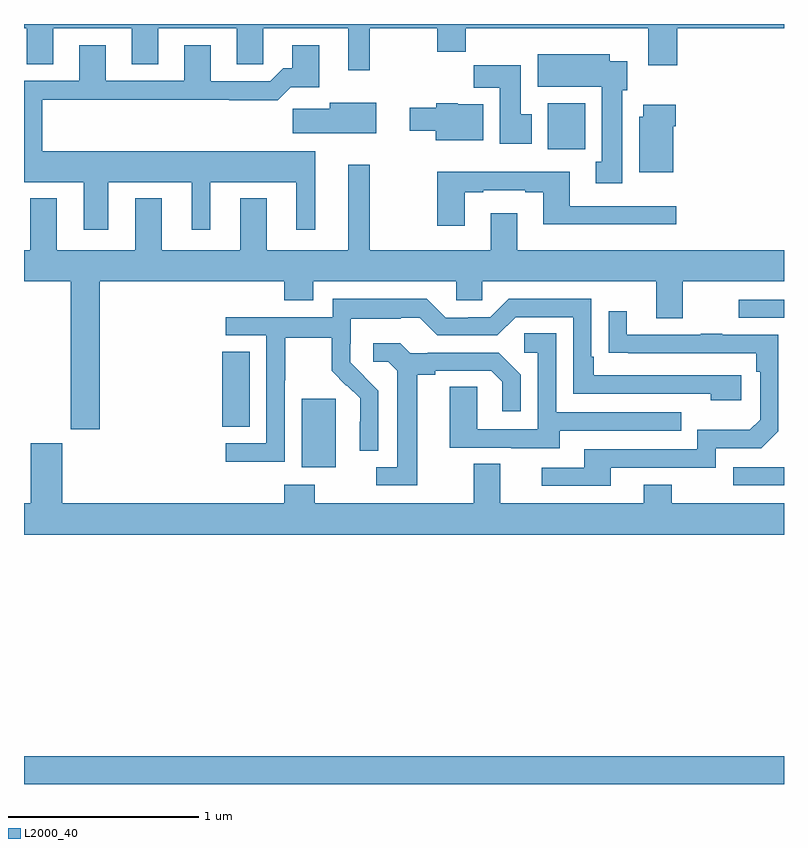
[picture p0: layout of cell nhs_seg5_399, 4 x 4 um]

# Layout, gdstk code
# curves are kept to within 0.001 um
import gdstk
lib = gdstk.Library(unit=1e-6, precision=1e-09)
def R(c, l, rs):  # rectangles x0, y0, x1, y1
    for r in rs: c.add(gdstk.rectangle(r[:2], r[2:], *l))
def P(c, l, *ps):  # polygons
    for p in ps: c.add(gdstk.Polygon(p, *l))
L2000_40 = (2000, 40)

nhs_seg5_399 = lib.new_cell('nhs_seg5_399')
R(nhs_seg5_399, L2000_40, [(137,836.799,141,836.944), (140.733,838.371,141,838.467), (138.461,838.466,138.64,838.827), (138.044,838.678,138.187,839.075), (140.763,839.253,141,839.349), (139.757,840.14,139.954,840.382)])
P(nhs_seg5_399, L2000_40, [(138.821,840.776),(139.174,840.776),(139.174,840.652),(139.325,840.652),(139.325,840.776),(140.285,840.776),(140.285,840.582),(140.438,840.582),(140.438,840.776),(141,840.776),(141,840.799),(137,840.799),(137,840.776),(137.015,840.776),(137.015,840.586),(137.155,840.586),(137.155,840.776),(137.567,840.776),(137.567,840.586),(137.707,840.586),(137.707,840.776),(138.119,840.776),(138.119,840.586),(138.258,840.586),(138.258,840.776),(138.707,840.776),(138.707,840.555),(138.821,840.555)],
  [(137.443,839.966),(137.882,839.966),(137.882,839.715),(137.98,839.715),(137.98,839.966),(138.434,839.966),(138.434,839.715),(138.532,839.715),(138.532,840.13),(137.095,840.13),(137.095,840.4),(138.079,840.4),(138.079,840.398),(138.335,840.398),(138.404,840.467),(138.553,840.467),(138.553,840.688),(138.413,840.688),(138.413,840.565),(138.364,840.565),(138.297,840.498),(137.983,840.498),(137.983,840.688),(137.843,840.688),(137.843,840.501),(137.431,840.501),(137.431,840.688),(137.291,840.688),(137.291,840.501),(137,840.501),(137,839.966),(137.315,839.966),(137.315,839.715),(137.443,839.715)],
  [(140.149,840.45),(140.176,840.45),(140.176,840.604),(140.083,840.604),(140.083,840.64),(139.703,840.64),(139.703,840.47),(140.042,840.47),(140.042,840.074),(140.009,840.074),(140.009,839.961),(140.149,839.961)],
  [(139.672,840.324),(139.615,840.324),(139.615,840.582),(139.366,840.582),(139.366,840.464),(139.505,840.464),(139.505,840.168),(139.672,840.168)],
  [(138.853,840.385),(138.608,840.385),(138.608,840.353),(138.414,840.353),(138.414,840.224),(138.853,840.224)],
  [(139.417,840.376),(139.284,840.376),(139.284,840.382),(139.17,840.382),(139.17,840.358),(139.029,840.358),(139.029,840.236),(139.166,840.236),(139.166,840.188),(139.417,840.188)],
  [(140.416,840.26),(140.429,840.26),(140.429,840.373),(140.258,840.373),(140.258,840.312),(140.237,840.312),(140.237,840.02),(140.416,840.02)],
  [(137.399,839.444),(138.371,839.444),(138.371,839.345),(138.523,839.345),(138.523,839.444),(139.275,839.444),(139.275,839.346),(139.413,839.346),(139.413,839.444),(140.327,839.444),(140.327,839.25),(140.467,839.25),(140.467,839.444),(141,839.444),(141,839.608),(139.597,839.608),(139.597,839.803),(139.457,839.803),(139.457,839.608),(138.821,839.608),(138.821,840.058),(138.707,840.058),(138.707,839.608),(138.277,839.608),(138.277,839.881),(138.137,839.881),(138.137,839.608),(137.725,839.608),(137.725,839.881),(137.585,839.881),(137.585,839.608),(137.173,839.608),(137.173,839.881),(137.033,839.881),(137.033,839.608),(137,839.608),(137,839.444),(137.246,839.444),(137.246,838.665),(137.399,838.665)],
  [(139.321,839.913),(139.417,839.913),(139.417,839.925),(139.637,839.925),(139.637,839.913),(139.733,839.913),(139.733,839.744),(140.434,839.744),(140.434,839.841),(139.873,839.841),(139.873,840.022),(139.174,840.022),(139.174,839.736),(139.321,839.736)],
  [(138.372,838.924),(138.375,838.924),(138.375,839.148),(138.619,839.148),(138.619,838.973),(138.696,838.896),(138.699,838.899),(138.77,838.829),(138.77,838.706),(138.768,838.706),(138.768,838.552),(138.864,838.552),(138.864,838.87),(138.718,839.018),(138.718,839.115),(138.72,839.115),(138.72,839.249),(138.983,839.249),(138.983,839.253),(139.083,839.253),(139.176,839.16),(139.491,839.16),(139.587,839.256),(139.89,839.256),(139.89,838.854),(140.615,838.854),(140.615,838.82),(140.776,838.82),(140.776,838.95),(139.999,838.95),(139.999,839.047),(139.986,839.047),(139.986,839.352),(139.551,839.352),(139.455,839.256),(139.337,839.256),(139.337,839.253),(139.221,839.253),(139.121,839.353),(138.624,839.353),(138.624,839.256),(138.063,839.256),(138.063,839.16),(138.276,839.16),(138.276,838.593),(138.063,838.593),(138.063,838.495),(138.372,838.495)],
  [(140.089,838.464),(140.64,838.464),(140.64,838.566),(140.88,838.566),(140.97,838.656),(140.97,839.163),(140.675,839.163),(140.675,839.168),(140.563,839.168),(140.563,839.163),(140.173,839.163),(140.173,839.287),(140.077,839.287),(140.077,839.068),(140.854,839.067),(140.854,838.97),(140.874,838.97),(140.874,838.716),(140.821,838.663),(140.544,838.663),(140.544,838.56),(139.949,838.56),(139.949,838.464),(139.725,838.464),(139.725,838.368),(140.089,838.368)],
  [(139.819,838.659),(140.459,838.659),(140.459,838.755),(139.8,838.755),(139.8,839.171),(139.632,839.171),(139.632,839.07),(139.704,839.07),(139.704,838.665),(139.386,838.665),(139.386,838.889),(139.241,838.889),(139.241,838.569),(139.565,838.569),(139.565,838.565),(139.819,838.565)],
  [(139.069,838.952),(139.165,838.952),(139.165,838.974),(139.46,838.974),(139.517,838.917),(139.517,838.761),(139.614,838.761),(139.614,838.954),(139.498,839.07),(139.126,839.07),(139.126,839.067),(139.032,839.067),(138.98,839.119),(138.837,839.119),(138.837,839.022),(138.918,839.022),(138.965,838.975),(138.965,838.467),(138.855,838.467),(138.855,838.371),(139.069,838.371)],
  [(141,838.276),(140.409,838.276),(140.409,838.375),(140.261,838.375),(140.261,838.276),(139.507,838.276),(139.507,838.484),(139.367,838.484),(139.367,838.276),(138.531,838.276),(138.531,838.375),(138.371,838.375),(138.371,838.276),(137.2,838.276),(137.2,838.593),(137.036,838.593),(137.036,838.276),(137,838.276),(137,838.112),(141,838.112)])

lib.write_gds('nhs_seg5_399.gds')
